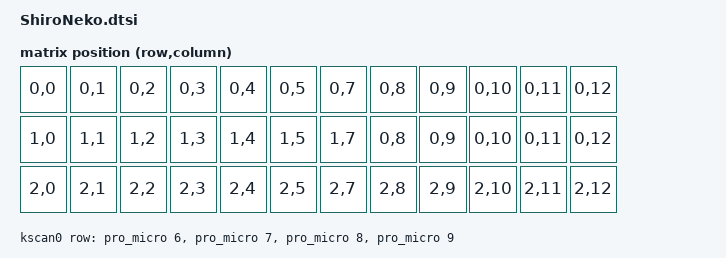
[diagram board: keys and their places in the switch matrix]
#include <dt-bindings/zmk/matrix_transform.h> 
/ {
     chosen {
        zmk,physical-layout = &default_layout;
        // Other chosen items
    };
    kscan0: kscan0 {
        compatible = "zmk,kscan-gpio-matrix";
        diode-direction = "col2row";
        wakeup-source;

        row-gpios
            = <&pro_micro 6 (GPIO_ACTIVE_HIGH | GPIO_PULL_DOWN)>
            , <&pro_micro 7 (GPIO_ACTIVE_HIGH | GPIO_PULL_DOWN)>
            , <&pro_micro 8 (GPIO_ACTIVE_HIGH | GPIO_PULL_DOWN)>
            , <&pro_micro 9 (GPIO_ACTIVE_HIGH | GPIO_PULL_DOWN)>
            ;

    };
    default_transform: keymap_transform0 {
        compatible = "zmk,matrix-transform";
        columns = <6>;
        rows = <3>;
        map = <
        //  LKey 1 |LKey 2 |LKey 3 |LKey 4 |LKey 5 |LKey 6     RKey 1 |RKey 2 |RKey 3 |RKey 4 |RKey 5 |RKey 6
            RC(0,0) RC(0,1) RC(0,2) RC(0,3) RC(0,4) RC(0,5)    RC(0,7) RC(0,8) RC(0,9) RC(0,10) RC(0,11) RC(0,12)
        //  LKey 7 |LKey 8 |LKey 9 |LKey 10|LKey 11 |LKey 12   RKey 7 |RKey 8 |RKey 9 |RKey 10|RKey 11 |RKey 12
            RC(1,0) RC(1,1) RC(1,2) RC(1,3) RC(1,4) RC(1,5)    RC(1,7) RC(0,8) RC(0,9) RC(0,10) RC(0,11) RC(0,12)
        //  LKey 7 |LKey 8 |LKey 9 |LKey 7 |LKey 8 |LKey 9    
            RC(2,0) RC(2,1) RC(2,2) RC(2,3) RC(2,4) RC(2,5)    RC(2,7) RC(2,8) RC(2,9) RC(2,10) RC(2,11) RC(2,12)
        >;
    };

    default_layout: default_layout {
        compatible = "zmk,physical-layout";
        display-name = "Default Layout";
        transform = <&default_transform>;
        kscan = <&kscan0>;
    };
};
